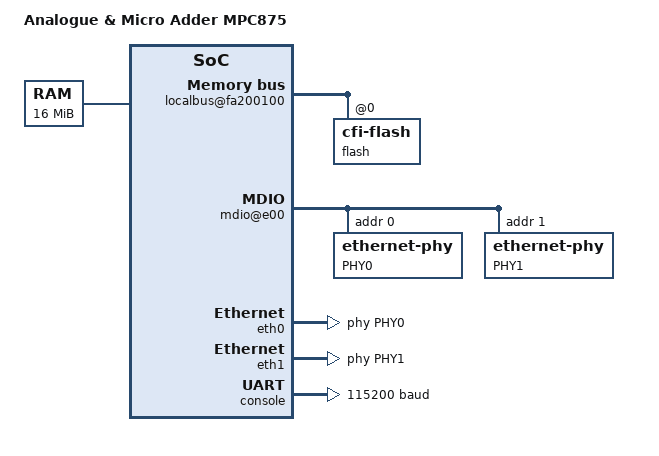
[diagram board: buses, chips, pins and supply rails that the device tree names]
/*
 * Device Tree Source for MPC885 ADS running RedBoot
 *
 * Copyright 2006 MontaVista Software, Inc.
 * Copyright 2007 Freescale Semiconductor, Inc.
 *
 * This program is free software; you can redistribute  it and/or modify it
 * under  the terms of  the GNU General  Public License as published by the
 * Free Software Foundation;  either version 2 of the  License, or (at your
 * option) any later version.
 */

/dts-v1/;
/ {
	model = "Analogue & Micro Adder MPC875";
	compatible = "analogue-and-micro,adder875";
	#address-cells = <1>;
	#size-cells = <1>;

	aliases {
		console = &console;
		ethernet0 = &eth0;
		ethernet1 = &eth1;
	};

	cpus {
		#address-cells = <1>;
		#size-cells = <0>;

		PowerPC,875@0 {
			device_type = "cpu";
			reg = <0>;
			d-cache-line-size = <16>;
			i-cache-line-size = <16>;
			d-cache-size = <8192>;
			i-cache-size = <8192>;
			timebase-frequency = <0>;
			bus-frequency = <0>;
			clock-frequency = <0>;
			interrupts = <15 2>;	// decrementer interrupt
			interrupt-parent = <&PIC>;
		};
	};

	memory {
		device_type = "memory";
		reg = <0 0x01000000>;
	};

	localbus@fa200100 {
		compatible = "fsl,mpc885-localbus", "fsl,pq1-localbus",
		             "simple-bus";
		#address-cells = <2>;
		#size-cells = <1>;
		reg = <0xfa200100 0x40>;

		ranges = <
			0 0 0xfe000000 0x00800000
			2 0 0xfa100000 0x00008000
		>;

		flash@0,0 {
			compatible = "cfi-flash";
			reg = <0 0 0x800000>;
			bank-width = <2>;
			device-width = <2>;
		};
	};

	soc@fa200000 {
		compatible = "fsl,mpc875-immr", "fsl,pq1-soc", "simple-bus";
		#address-cells = <1>;
		#size-cells = <1>;
		ranges = <0 0xfa200000 0x00004000>;

		// Temporary until code stops depending on it.
		device_type = "soc";

		// Temporary until get_immrbase() is fixed.
		reg = <0xfa200000 0x4000>;

		mdio@e00 {
			compatible = "fsl,mpc875-fec-mdio", "fsl,pq1-fec-mdio";
			reg = <0xe00 0x188>;
			#address-cells = <1>;
			#size-cells = <0>;

			PHY0: ethernet-phy@0 {
				reg = <0>;
			};

			PHY1: ethernet-phy@1 {
				reg = <1>;
			};
		};

		eth0: ethernet@e00 {
			device_type = "network";
			compatible = "fsl,mpc875-fec-enet",
			             "fsl,pq1-fec-enet";
			reg = <0xe00 0x188>;
			local-mac-address = [ 00 00 00 00 00 00 ];
			interrupts = <3 1>;
			interrupt-parent = <&PIC>;
			phy-handle = <&PHY0>;
			linux,network-index = <0>;
		};

		eth1: ethernet@1e00 {
			device_type = "network";
			compatible = "fsl,mpc875-fec-enet",
			             "fsl,pq1-fec-enet";
			reg = <0x1e00 0x188>;
			local-mac-address = [ 00 00 00 00 00 00 ];
			interrupts = <7 1>;
			interrupt-parent = <&PIC>;
			phy-handle = <&PHY1>;
			linux,network-index = <1>;
		};

		PIC: interrupt-controller@0 {
			interrupt-controller;
			#interrupt-cells = <2>;
			reg = <0 0x24>;
			compatible = "fsl,mpc875-pic", "fsl,pq1-pic";
		};

		cpm@9c0 {
			#address-cells = <1>;
			#size-cells = <1>;
			compatible = "fsl,mpc875-cpm", "fsl,cpm1", "simple-bus";
			interrupts = <0>;	// cpm error interrupt
			interrupt-parent = <&CPM_PIC>;
			reg = <0x9c0 0x40>;
			ranges;

			muram {
				#address-cells = <1>;
				#size-cells = <1>;
				ranges = <0 0x2000 0x2000>;

				data@0 {
					compatible = "fsl,cpm-muram-data";
					reg = <0 0x1c00>;
				};
			};

			brg@9f0 {
				compatible = "fsl,mpc875-brg",
				             "fsl,cpm1-brg",
				             "fsl,cpm-brg";
				clock-frequency = <50000000>;
				reg = <0x9f0 0x10>;
			};

			CPM_PIC: interrupt-controller@930 {
				interrupt-controller;
				#interrupt-cells = <1>;
				interrupts = <5 2 0 2>;
				interrupt-parent = <&PIC>;
				reg = <0x930 0x20>;
				compatible = "fsl,mpc875-cpm-pic",
				             "fsl,cpm1-pic";
			};

			console: serial@a80 {
				device_type = "serial";
				compatible = "fsl,mpc875-smc-uart",
				             "fsl,cpm1-smc-uart";
				reg = <0xa80 0x10 0x3e80 0x40>;
				interrupts = <4>;
				interrupt-parent = <&CPM_PIC>;
				fsl,cpm-brg = <1>;
				fsl,cpm-command = <0x0090>;
				current-speed = <115200>;
			};
		};
	};

	chosen {
		stdout-path = &console;
	};
};
